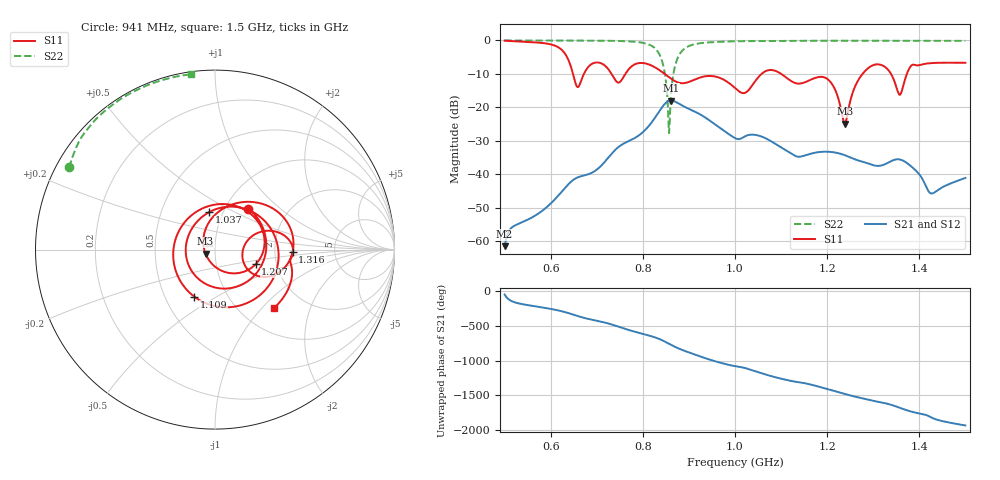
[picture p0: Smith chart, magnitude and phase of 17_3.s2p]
! TOUCHSTONE file generated by CST MICROWAVE STUDIO
! Date and time: Fri Dec 11 14:11:08 2020
! Project name: Scenario_1_Planar_Body_Tissue_Out_of_Line_v2.cst
! Parameters = {dy1=-69.2; L_HA=400; Ltissue=700; MT=2.54; Rad_Dielectric=30; Rad_Lower=7.3; Rad_Upper=30; Wtissue=700; a_HA=580; a_WG=246; b_HA=500; b_WG=121; c_HA=0; c_WG=187; d_feed=85; dx1=520; h_feed=15; h_lower=18; h_upper=40; hfat=3; hgap=25; hmuscle=50; hskin=1.5}
! Header version: 2018
! Port assignment regex: !\s*Touchstone port\s*([0-9]+)\s*=\s*(CST MWS port|CST DS port)\s*([0-9]+|Zmin|Zmax)\s*\(\"(.*)\"\)(\s*mode\s*([0-9]+))?.*
! Touchstone port assignment:
! Touchstone port 1 = CST MWS port 1 ("")
! Touchstone port 2 = CST MWS port 2 ("")
# GHz S DB R 50
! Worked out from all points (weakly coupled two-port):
!   1003 points, 500 MHz to 1.5 GHz, reference 50 ohm
!   highest |S21| = -17.95 dB at 861 MHz (marker M1); lowest = -61.5 dB at 500 MHz (marker M2)
!   lowest |S11| = -24.8 dB at 1.238 GHz (marker M3), VSWR 1.12, Z = 45 - j2.02 ohm
!   |S11| at or under -10 dB: 847.3 MHz to 1.058 GHz (210.3 MHz wide, 22.1 % of centre); 1.1 GHz to 1.277 GHz (176.6 MHz wide, 14.9 % of centre); 1.339 GHz to 1.373 GHz (34.38 MHz wide, 2.54 % of centre)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
!   |S22| runs from -27.7 to 0.0 dB; largest |S21 - S12| = 5.5e-05
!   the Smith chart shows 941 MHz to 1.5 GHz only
!   S11 on the Smith chart (normalised r, x): 941 MHz: 1.27, +0.64; 1.037 GHz: 0.86, +0.38; 1.109 GHz: 0.70, -0.40; 1.207 GHz: 1.56, -0.27; 1.316 GHz: 2.53, -0.07; 1.5 GHz: 1.41, -1.17
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0.5  -0.08 -121.9  -61.48 -48.9  -61.48 -48.9  -0.01 151.1
0.63  -3.75 146.9  -44.23 60.3  -44.23 60.3  -0.03 141.7
0.667  -11.73 178.8  -40.54 -15.0  -40.54 -15.0  -0.04 138.3
0.716  -7.34 105.8  -36.49 -89.8  -36.49 -89.8  -0.09 132.8
0.741  -12.00 9.1  -32.59 -137.9  -32.59 -137.9  -0.14 129.0
0.762  -10.02 -112.7  -30.57 175.8  -30.57 175.8  -0.22 124.8
0.787  -6.91 164.0  -28.79 128.1  -28.79 128.1  -0.45 117.7
0.834  -8.69 43.9  -21.53 35.7  -21.53 35.7  -3.67 82.6
0.861  -11.41 -37.1  -17.95 -52.5  -17.95 -52.5  -16.55 -128.9
0.881  -12.73 -109.4  -19.10 -114.5  -19.10 -114.5  -3.87 -174.3
0.941  -10.63 51.1  -23.54 103.2  -23.54 103.2  -0.61 150.6
1  -14.22 -109.7  -29.18 0.2  -29.18 0.2  -0.25 140.1
1.037  -13.50 98.8  -28.15 -58.1  -28.15 -58.1  -0.19 135.6
1.071  -8.95 -7.2  -29.56 -128.7  -29.56 -128.7  -0.14 132.2
1.109  -10.86 -113.9  -32.71 166.1  -32.71 166.1  -0.12 128.8
1.167  -11.58 72.1  -33.76 91.1  -33.76 91.1  -0.10 124.1
1.207  -12.38 -19.9  -33.31 18.6  -33.31 18.6  -0.08 121.0
1.238  -24.85 -157.0  -34.28 -39.6  -34.28 -39.6  -0.08 118.7
1.316  -7.27 -1.6  -37.41 -158.9  -37.41 -158.9  -0.08 112.8
1.334  -9.06 -24.3  -36.41 173.5  -36.41 173.5  -0.08 111.5
1.358  -16.24 -4.3  -35.59 119.9  -35.59 119.9  -0.09 109.6
1.5  -6.67 -44.7  -41.09 -133.1  -41.09 -133.1  -0.13 97.8
